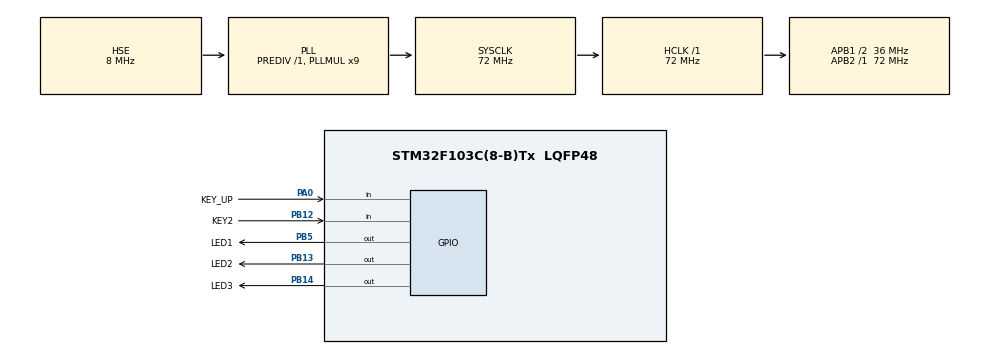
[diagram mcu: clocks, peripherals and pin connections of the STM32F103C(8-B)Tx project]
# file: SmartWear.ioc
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Mcu.Family=STM32F1
Mcu.Name=STM32F103C(8-B)Tx
Mcu.Package=LQFP48
NVIC.PriorityGroup=NVIC_PRIORITYGROUP_4
PA0-WKUP.GPIO_Label=KEY_UP
PA0-WKUP.GPIO_PuPd=GPIO_PULLDOWN
PA0-WKUP.Signal=GPIO_Input
PB12.GPIO_Label=KEY2
PB12.GPIO_PuPd=GPIO_PULLUP
PB12.Signal=GPIO_Input
PB13.GPIO_Label=LED2
PB13.GPIO_PuPd=GPIO_PULLUP
PB13.GPIO_Speed=GPIO_SPEED_FREQ_HIGH
PB13.PinState=GPIO_PIN_SET
PB13.Signal=GPIO_Output
PB14.GPIO_Label=LED3
PB14.GPIO_PuPd=GPIO_PULLUP
PB14.GPIO_Speed=GPIO_SPEED_FREQ_HIGH
PB14.PinState=GPIO_PIN_SET
PB14.Signal=GPIO_Output
PB5.GPIO_Label=LED1
PB5.GPIO_ModeDefaultOutputPP=GPIO_MODE_OUTPUT_PP
PB5.GPIO_PuPd=GPIO_PULLUP
PB5.GPIO_Speed=GPIO_SPEED_FREQ_HIGH
PB5.PinState=GPIO_PIN_SET
PB5.Signal=GPIO_Output
PD0-OSC_IN.Mode=HSE-External-Oscillator
PD0-OSC_IN.Signal=RCC_OSC_IN
PD1-OSC_OUT.Mode=HSE-External-Oscillator
PD1-OSC_OUT.Signal=RCC_OSC_OUT
ProjectManager.HeapSize=0x200
ProjectManager.StackSize=0x400
ProjectManager.TargetToolchain=MDK-ARM V5.27
RCC.AHBFreq_Value=72000000
RCC.APB1CLKDivider=RCC_HCLK_DIV2
RCC.APB1Freq_Value=36000000
RCC.APB1TimFreq_Value=72000000
RCC.APB2Freq_Value=72000000
RCC.APB2TimFreq_Value=72000000
RCC.HCLKFreq_Value=72000000
RCC.PLLMUL=RCC_PLL_MUL9
RCC.PLLSourceVirtual=RCC_PLLSOURCE_HSE
RCC.SYSCLKFreq_VALUE=72000000
RCC.SYSCLKSource=RCC_SYSCLKSOURCE_PLLCLK
RCC.USBFreq_Value=72000000
VP_SYS_VS_ND.Mode=No_Debug
board=custom

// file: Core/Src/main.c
/* USER CODE BEGIN Header */
/**
  ******************************************************************************
  * @file           : main.c
  * @brief          : Main program body
  ******************************************************************************
  * @attention
  *
  * Copyright (c) 2023 STMicroelectronics.
  * All rights reserved.
  *
  * This software is licensed under terms that can be found in the LICENSE file
  * in the root directory of this software component.
  * If no LICENSE file comes with this software, it is provided AS-IS.
  *
  ******************************************************************************
  */
/* USER CODE END Header */
#include "main.h"
#include "gpio.h"

/* USER CODE BEGIN Includes */
#include "led.h"
#include "key.h"
/* USER CODE END Includes */

void SystemClock_Config(void);

int main(void)
{
  /* USER CODE BEGIN 1 */
    uint8_t i = 0;
    uint16_t usCount = 0;
  /* USER CODE END 1 */

  /* MCU Configuration--------------------------------------------------------*/

  /* Reset of all peripherals, Initializes the Flash interface and the Systick. */
  HAL_Init();

  /* Configure the system clock */
  SystemClock_Config();

  /* Initialize all configured peripherals */
  MX_GPIO_Init();

  /* Infinite loop */
  while (1)
  {

    /* USER CODE BEGIN 3 */
    HAL_Delay(1);
    /* 运行指示灯： */
    usCount++;
    if (usCount % 50 == 0)    i = !i;
    if (i)    LED3_ON();
    else      LED3_OFF();

    /* 获取键值 */
    uint8_t ucKeyVal = KEY_Scan();
    switch (ucKeyVal)
    {
      case KEY_UP_PRES: LED1_ON();
                        HAL_Delay(50);
                        LED1_OFF();
          break;
      case KEY2_PRES:   LED2_ON();
                        HAL_Delay(50);
                        LED2_OFF();
          break;
    }
  }
  /* USER CODE END 3 */
}

void SystemClock_Config(void)
{
  RCC_OscInitTypeDef RCC_OscInitStruct = {0};
  RCC_ClkInitTypeDef RCC_ClkInitStruct = {0};

  /** Initializes the RCC Oscillators according to the specified parameters
  * in the RCC_OscInitTypeDef structure.
  */
  RCC_OscInitStruct.OscillatorType = RCC_OSCILLATORTYPE_HSE;
  RCC_OscInitStruct.HSEState = RCC_HSE_ON;
  RCC_OscInitStruct.HSEPredivValue = RCC_HSE_PREDIV_DIV1;
  RCC_OscInitStruct.HSIState = RCC_HSI_ON;
  RCC_OscInitStruct.PLL.PLLState = RCC_PLL_ON;
  RCC_OscInitStruct.PLL.PLLSource = RCC_PLLSOURCE_HSE;
  RCC_OscInitStruct.PLL.PLLMUL = RCC_PLL_MUL9;
  if (HAL_RCC_OscConfig(&RCC_OscInitStruct) != HAL_OK)
  {
    Error_Handler();
  }

  /** Initializes the CPU, AHB and APB buses clocks
  */
  RCC_ClkInitStruct.ClockType = RCC_CLOCKTYPE_HCLK|RCC_CLOCKTYPE_SYSCLK
                              |RCC_CLOCKTYPE_PCLK1|RCC_CLOCKTYPE_PCLK2;
  RCC_ClkInitStruct.SYSCLKSource = RCC_SYSCLKSOURCE_PLLCLK;
  RCC_ClkInitStruct.AHBCLKDivider = RCC_SYSCLK_DIV1;
  RCC_ClkInitStruct.APB1CLKDivider = RCC_HCLK_DIV2;
  RCC_ClkInitStruct.APB2CLKDivider = RCC_HCLK_DIV1;

  if (HAL_RCC_ClockConfig(&RCC_ClkInitStruct, FLASH_LATENCY_2) != HAL_OK)
  {
    Error_Handler();
  }
}

void Error_Handler(void)
{
  __disable_irq();
  while (1)
  {
  }
}
